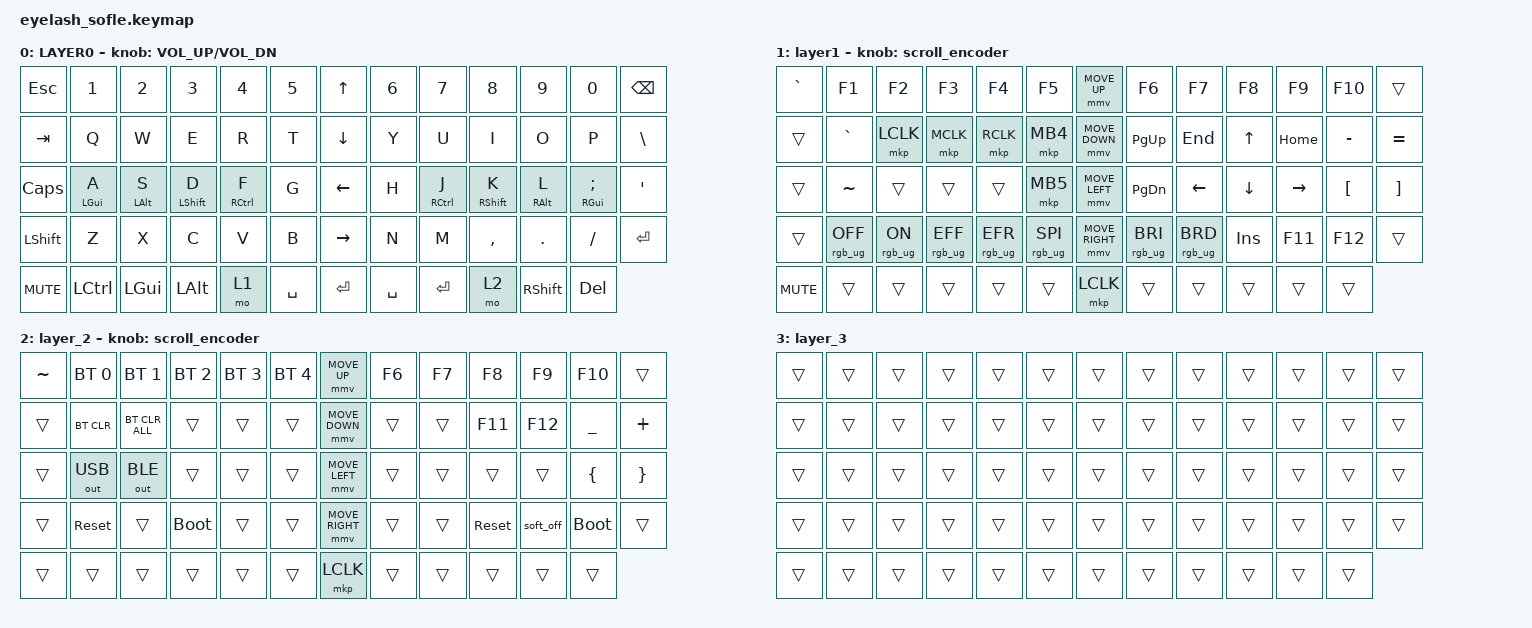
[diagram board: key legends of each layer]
#define ZMK_POINTING_DEFAULT_MOVE_VAL 1200  // 600
#define ZMK_POINTING_DEFAULT_SCRL_VAL 25   // 10

#include <input/processors.dtsi>
#include <zephyr/dt-bindings/input/input-event-codes.h>
#include <behaviors.dtsi>
#include <dt-bindings/zmk/bt.h>
#include <dt-bindings/zmk/keys.h>
#include <dt-bindings/zmk/outputs.h>
#include <dt-bindings/zmk/pointing.h>
#include <dt-bindings/zmk/rgb.h>

&mmv_input_listener { input-processors = <&zip_xy_scaler 2 1>; };

&msc_input_listener { input-processors = <&zip_scroll_scaler 2 1>; };

&msc {
    acceleration-exponent = <1>;      // 0
    time-to-max-speed-ms = <100>;       // 300
    delay-ms = <0>;                   // 0
};

&mmv {
    time-to-max-speed-ms = <500>;
    acceleration-exponent = <1>;
    trigger-period-ms = <16>;
};

/ {
    scroll_encoder: scroll_encoder {
        compatible = "zmk,behavior-sensor-rotate";
        #sensor-binding-cells = <0>;
        bindings = <&msc SCRL_DOWN>, <&msc SCRL_UP>;

        tap-ms = <100>;
    };

    hml: hml {
        compatible = "zmk,behavior-hold-tap";
        label = "HML";
        bindings = <&kp>, <&kp>;

        #binding-cells = <2>;
        flavor = "balanced";
        tapping-term-ms = <280>;
        quick-tap-ms = <175>;
        require-prior-idle-ms = <150>;
        hold-trigger-key-positions = <7 8 9 20 21 33 46 60 59 61 62 47 34 22 35 48 63 49 36 23 10 11 24 37 50 51 38 25 12 57 56 55 54 53>;
        hold-trigger-on-release;
    };

    hmr: hmr {
        compatible = "zmk,behavior-hold-tap";
        label = "HMR";
        bindings = <&kp>, <&kp>;

        #binding-cells = <2>;
        flavor = "balanced";
        tapping-term-ms = <280>;
        quick-tap-ms = <175>;
        require-prior-idle-ms = <150>;
        hold-trigger-on-release;
        hold-trigger-key-positions = <0 13 26 39 40 0 1 2 3 4 5 13 14 15 16 17 18 26 27 28 29 30 31 39 40 41 42 43 44 53 54 55 56 57 52 59 60 61 62 63>;
    };

    behaviors {
    };

    keymap {
        compatible = "zmk,keymap";

        layer0 {
            bindings = <
&kp ESC     &kp N1           &kp N2           &kp N3             &kp N4        &kp N5       &kp UP_ARROW     &kp N6     &kp N7        &kp N8              &kp N9            &kp N0               &kp BACKSPACE
&kp TAB     &kp Q            &kp W            &kp E              &kp R         &kp T        &kp DOWN_ARROW   &kp Y      &kp U         &kp I               &kp O             &kp P                &kp BSLH
&kp CAPS    &hml LEFT_GUI A  &hml LEFT_ALT S  &hml LEFT_SHIFT D  &hml RCTRL F  &kp G        &kp LEFT_ARROW   &kp H      &hmr RCTRL J  &hmr RIGHT_SHIFT K  &hmr RIGHT_ALT L  &hmr RIGHT_GUI SEMI  &kp APOS
&kp LSHFT   &kp Z            &kp X            &kp C              &kp V         &kp B        &kp RIGHT_ARROW  &kp N      &kp M         &kp COMMA           &kp DOT           &kp FSLH             &kp ENTER
&kp C_MUTE  &kp LCTRL        &kp LEFT_GUI     &kp LEFT_ALT       &mo 1         &kp SPACE    &kp ENTER        &kp SPACE  &kp ENTER     &mo 2               &kp RIGHT_SHIFT   &kp DELETE
            >;

            sensor-bindings = <&inc_dec_kp C_VOLUME_UP C_VOL_DN>;
            display-name = "LAYER0";
        };

        layer_1 {
            bindings = <
&kp GRAVE   &kp F1           &kp F2          &kp F3           &kp F4           &kp F5             &mmv MOVE_UP     &kp F6           &kp F7           &kp F8      &kp F9     &kp F10           &trans
&trans      &kp GRAVE        &mkp LCLK       &mkp MCLK        &mkp RCLK        &mkp MB4           &mmv MOVE_DOWN   &kp PG_UP        &kp END          &kp UP      &kp HOME   &kp MINUS         &kp EQUAL
&trans      &kp TILDE        &trans          &trans           &trans           &mkp MB5           &mmv MOVE_LEFT   &kp PG_DN        &kp LEFT         &kp DOWN    &kp RIGHT  &kp LEFT_BRACKET  &kp RIGHT_BRACKET
&trans      &rgb_ug RGB_OFF  &rgb_ug RGB_ON  &rgb_ug RGB_EFF  &rgb_ug RGB_EFR  &rgb_ug RGB_SPI    &mmv MOVE_RIGHT  &rgb_ug RGB_BRI  &rgb_ug RGB_BRD  &kp INSERT  &kp F11    &kp F12           &trans
&kp C_MUTE  &trans           &trans          &trans           &trans           &trans             &mkp LCLK        &trans           &trans           &trans      &trans     &trans
            >;

            display-name = "layer1";
            sensor-bindings = <&scroll_encoder>;
        };

        layer_2 {
            bindings = <
&kp TILDE  &bt BT_SEL 0  &bt BT_SEL 1    &bt BT_SEL 2  &bt BT_SEL 3  &bt BT_SEL 4    &mmv MOVE_UP     &kp F6  &kp F7  &kp F8      &kp F9     &kp F10      &trans
&trans     &bt BT_CLR    &bt BT_CLR_ALL  &trans        &trans        &trans          &mmv MOVE_DOWN   &trans  &trans  &kp F11     &kp F12    &kp UNDER    &kp PLUS
&trans     &out OUT_USB  &out OUT_BLE    &trans        &trans        &trans          &mmv MOVE_LEFT   &trans  &trans  &trans      &trans     &kp LBRC     &kp RBRC
&trans     &sys_reset    &trans          &bootloader   &trans        &trans          &mmv MOVE_RIGHT  &trans  &trans  &sys_reset  &soft_off  &bootloader  &trans
&trans     &trans        &trans          &trans        &trans        &trans          &mkp LCLK        &trans  &trans  &trans      &trans     &trans
            >;

            sensor-bindings = <&scroll_encoder>;
        };

        layer_3 {
            bindings = <
&trans  &trans  &trans  &trans  &trans  &trans    &trans  &trans  &trans  &trans  &trans  &trans  &trans
&trans  &trans  &trans  &trans  &trans  &trans    &trans  &trans  &trans  &trans  &trans  &trans  &trans
&trans  &trans  &trans  &trans  &trans  &trans    &trans  &trans  &trans  &trans  &trans  &trans  &trans
&trans  &trans  &trans  &trans  &trans  &trans    &trans  &trans  &trans  &trans  &trans  &trans  &trans
&trans  &trans  &trans  &trans  &trans  &trans    &trans  &trans  &trans  &trans  &trans  &trans
            >;
        };
    };
};
